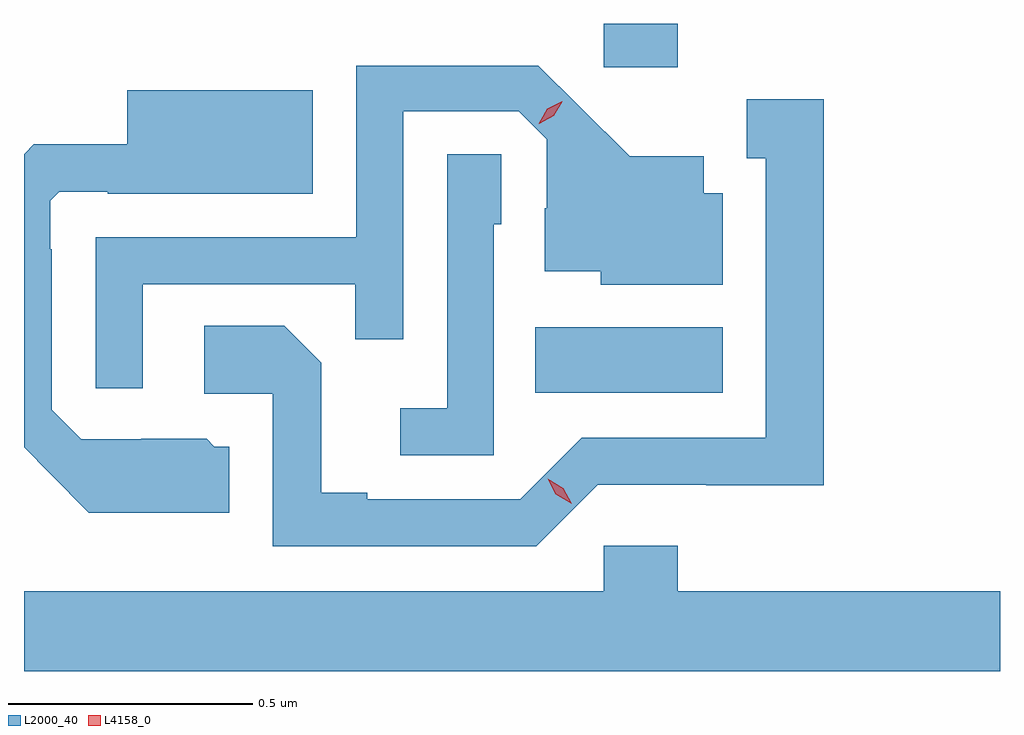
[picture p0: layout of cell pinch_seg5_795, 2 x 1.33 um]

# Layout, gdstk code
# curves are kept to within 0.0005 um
import gdstk
lib = gdstk.Library(unit=1e-6, precision=1e-09)
def R(c, l, rs):  # rectangles x0, y0, x1, y1
    for r in rs: c.add(gdstk.rectangle(r[:2], r[2:], *l))
def P(c, l, *ps):  # polygons
    for p in ps: c.add(gdstk.Polygon(p, *l))
L2000_40 = (2000, 40)
L4158_0 = (4158, 0)

pinch_seg5_795 = lib.new_cell('pinch_seg5_795')
R(pinch_seg5_795, L2000_40, [(793.6,907.946,793.984,908.08), (793.74,908.613,793.892,908.702)])
P(pinch_seg5_795, L2000_40, [(792.795,908.169),(793.231,908.169),(793.231,908.056),(793.329,908.056),(793.329,908.523),(793.566,908.523),(793.623,908.466),(793.623,908.324),(793.619,908.324),(793.619,908.195),(793.734,908.195),(793.734,908.168),(793.984,908.168),(793.984,908.355),(793.945,908.355),(793.945,908.431),(793.793,908.431),(793.606,908.616),(793.233,908.616),(793.233,908.265),(792.699,908.265),(792.699,907.956),(792.795,907.956)],
  [(792.973,907.836),(792.942,907.836),(792.926,907.852),(792.792,907.852),(792.792,907.851),(792.669,907.851),(792.609,907.911),(792.609,908.24),(792.606,908.24),(792.606,908.34),(792.624,908.358),(792.724,908.358),(792.724,908.354),(793.144,908.354),(793.144,908.566),(792.764,908.566),(792.764,908.455),(792.572,908.455),(792.552,908.435),(792.552,907.835),(792.685,907.7),(792.973,907.7)],
  [(793.728,907.758),(793.95,907.758),(793.95,907.757),(794.191,907.757),(794.191,908.548),(794.033,908.548),(794.033,908.427),(794.072,908.427),(794.072,907.854),(793.695,907.854),(793.569,907.728),(793.255,907.728),(793.255,907.741),(793.161,907.741),(793.161,908.008),(793.085,908.084),(792.921,908.084),(792.921,907.944),(793.062,907.944),(793.062,907.632),(793.602,907.632)],
  [(793.515,908.292),(793.53,908.292),(793.53,908.435),(793.419,908.435),(793.419,907.915),(793.323,907.915),(793.323,907.818),(793.515,907.818)],
  [(794.552,907.54),(793.892,907.54),(793.892,907.633),(793.74,907.633),(793.74,907.54),(792.552,907.54),(792.552,907.376),(794.552,907.376)])
P(pinch_seg5_795, L4158_0, [(793.607,908.498),(793.607,908.498),(793.624,908.528),(793.655,908.544),(793.655,908.544),(793.655,908.543),(793.638,908.514),(793.608,908.498)],
  [(793.674,907.719),(793.642,907.738),(793.625,907.77),(793.625,907.77),(793.625,907.77),(793.657,907.751),(793.674,907.719),(793.674,907.719)])

lib.write_gds('pinch_seg5_795.gds')
